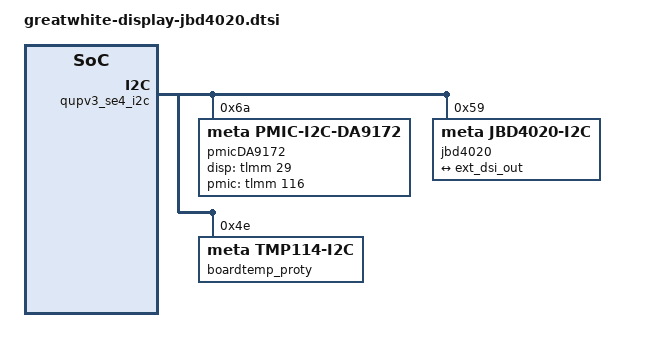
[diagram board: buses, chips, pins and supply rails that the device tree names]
#include "greatwhite-panel-jbd4020-vga-60hz_vid.dtsi"

&qupv3_se4_i2c {
    qcom,clk-freq-out = <400000>;

    pmicDA9172: pmicDA9172@6A {
        compatible = "meta,pmic-i2c-da9172";
        regulator-name = "pmicDA9172";
        reg = <0x6A>;
        status = "ok";
        continouous-splash;
        disp-gpios = <&tlmm 29 GPIO_ACTIVE_HIGH>;
        pmic-gpios = <&tlmm 116 GPIO_ACTIVE_HIGH>;
    };

    jbd4020: jbd4020@59 {
        compatible = "meta,jbd4020-i2c";
        reg = <0x59>;
        status = "ok";

	#thermal-sensor-cells = <0>;
	continuous-splash;

        ports {
            #address-cells = <1>;
            #size-cells = <0>;

            port@0 {
                reg = <0>;
                dsi_jbd4020_bridge: endpoint {
                    remote-endpoint = <&ext_dsi_out>;
                };
            };
        };
    };

    boardtemp_proty:tmp114@4E {
        compatible = "meta,tmp114-i2c";
        reg = <0x4E>;
        status = "ok";

        pmic-supply = "pmicOP03010";
        #thermal-sensor-cells = <0>;
    };
};

&mdss_mdp {
    bridges = <&jbd4020>;
};

&sde_dsi {
    qcom,dsi-default-panel = <&dsi_jbd4020_uled_640x480_60>;
};

&ext_dsi_out {
    remote-endpoint = <&dsi_jbd4020_bridge>;
};

&thermal_zones {
    display-sensor-temp {
        thermal-sensors = <&jbd4020 0>;
    };

    display-boardtemp {
        status = "ok";
        thermal-sensors = <&boardtemp_proty 0>;
    };

    display-gtemp {
        status = "disabled";
    };

    display-rbtemp {
        status = "disabled";
    };
};

&display_temp_cfg0{
    temperature = <40000>;
    hysteresis = <5000>;
};

&display_temp_cfg1{
    temperature = <52000>;
    hysteresis = <5000>;
};

&display_temp_cfg2{
    temperature = <58000>;
    hysteresis = <5000>;
};

&display_temp_cfg3{
    temperature = <64000>;
    hysteresis = <5000>;
};

&display_temp_cfg4{
    temperature = <70000>;
    hysteresis = <5000>;
};

&lcosOP03010 {
    status = "disabled";
};

&pmicOP03010 {
    status = "disabled";
};

&rbtemp {
    status = "disabled";
};

&gtemp {
    status = "disabled";
};

&dispboardtemp {
    status = "disabled";
};

&leddriver {
    status = "disabled";
};
